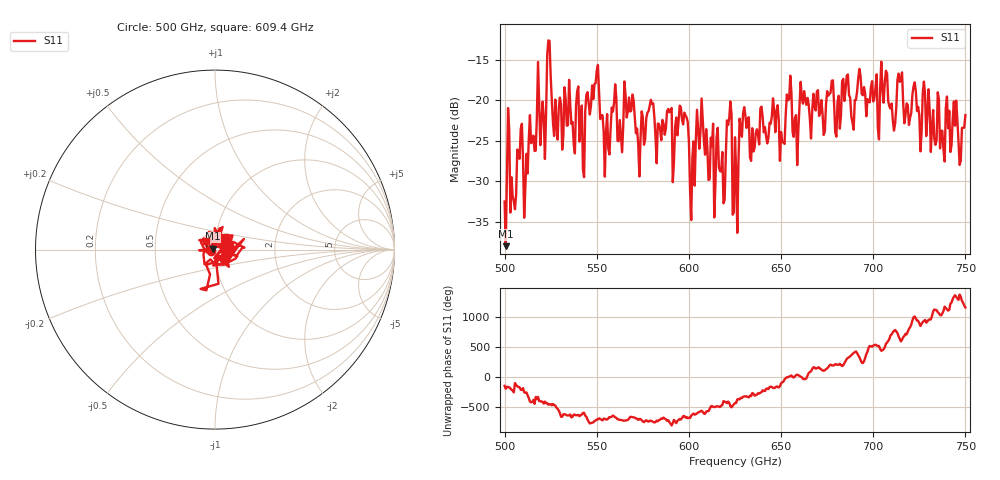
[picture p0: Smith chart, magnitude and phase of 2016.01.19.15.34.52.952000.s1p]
!Created with skrf (http://scikit-rf.org).
# GHz S RI R 50.0
!freq ReS11 ImS11
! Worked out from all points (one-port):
!   401 points, 500 GHz to 750 GHz, reference 50 ohm
!   lowest |S11| = -38.0 dB at 500.6 GHz (marker M1), VSWR 1.03, Z = 48.9 + j0.505 ohm
!   |S11| at or under -10 dB: start of sweep to end of sweep
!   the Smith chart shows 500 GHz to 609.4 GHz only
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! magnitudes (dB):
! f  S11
! 500 GHz  -32.5
! 500.6 GHz  -38.0
! 505 GHz  -32.5
! 508.1 GHz  -27.3
! 511.2 GHz  -30.8
! 524.4 GHz  -12.7
! 527.5 GHz  -19.9
! 531.2 GHz  -26.1
! 541.9 GHz  -20.7
! 550 GHz  -16.4
! 555.6 GHz  -21.7
! 559.4 GHz  -20.4
! 562.5 GHz  -22.5
! 566.2 GHz  -22.2
! 572.5 GHz  -25.5
! 593.8 GHz  -24.4
! 598.8 GHz  -22.1
! 601.9 GHz  -27.1
! 605.6 GHz  -26.0
! 618.1 GHz  -26.4
! 621.9 GHz  -22.2
! 625 GHz  -24.6
! 628.8 GHz  -24.5
! 656.2 GHz  -24.0
! 687.5 GHz  -19.7
! 714.4 GHz  -17.8
! 718.8 GHz  -20.6
! 750 GHz  -21.9
